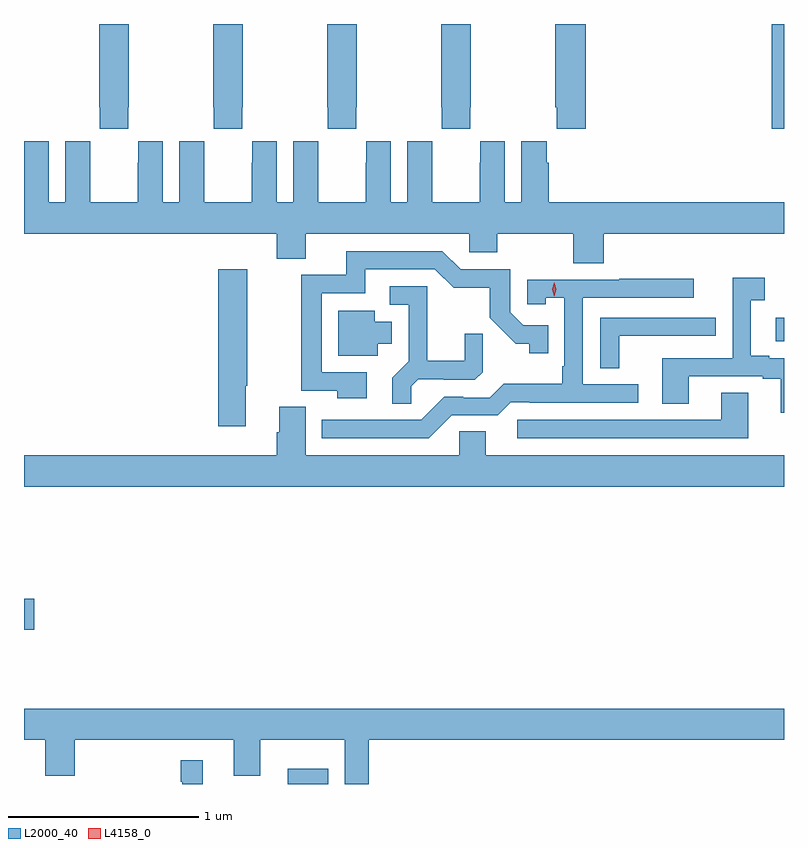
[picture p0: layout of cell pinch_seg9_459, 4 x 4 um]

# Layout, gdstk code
import gdstk
lib = gdstk.Library(unit=1e-6, precision=1e-09)
def R(c, l, rs):  # rectangles x0, y0, x1, y1
    for r in rs: c.add(gdstk.rectangle(r[:2], r[2:], *l))
def P(c, l, *ps):  # polygons
    for p in ps: c.add(gdstk.Polygon(p, *l))
L2000_40 = (2000, 40)
L4158_0 = (4158, 0)

pinch_seg9_459 = lib.new_cell('pinch_seg9_459')
R(pinch_seg9_459, L2000_40, [(350.198,1170.879,350.41,1170.958), (348.81,1171.69,348.865,1171.855), (352.767,1173.209,352.81,1173.333), (352.745,1174.329,352.81,1174.879)])
P(pinch_seg9_459, L2000_40, [(349.359,1174.441),(349.362,1174.441),(349.362,1174.879),(349.207,1174.879),(349.207,1174.441),(349.209,1174.441),(349.209,1174.329),(349.359,1174.329)],
  [(349.959,1174.441),(349.962,1174.441),(349.962,1174.879),(349.807,1174.879),(349.807,1174.441),(349.809,1174.441),(349.809,1174.329),(349.959,1174.329)],
  [(350.559,1174.441),(350.562,1174.441),(350.562,1174.879),(350.407,1174.879),(350.407,1174.441),(350.409,1174.441),(350.409,1174.329),(350.559,1174.329)],
  [(351.159,1174.441),(351.162,1174.441),(351.162,1174.879),(351.007,1174.879),(351.007,1174.441),(351.009,1174.441),(351.009,1174.329),(351.159,1174.329)],
  [(351.767,1174.879),(351.607,1174.879),(351.607,1174.441),(351.613,1174.441),(351.613,1174.329),(351.767,1174.329)],
  [(351.21,1174.148),(351.209,1174.148),(351.209,1173.94),(350.959,1173.94),(350.959,1174.148),(350.958,1174.148),(350.958,1174.261),(350.828,1174.261),(350.828,1173.94),(350.74,1173.94),(350.74,1174.261),(350.61,1174.261),(350.61,1174.148),(350.609,1174.148),(350.609,1173.94),(350.359,1173.94),(350.359,1174.148),(350.358,1174.148),(350.358,1174.261),(350.228,1174.261),(350.228,1173.94),(350.14,1173.94),(350.14,1174.261),(350.01,1174.261),(350.01,1174.148),(350.009,1174.148),(350.009,1173.94),(349.759,1173.94),(349.759,1174.148),(349.758,1174.148),(349.758,1174.261),(349.628,1174.261),(349.628,1173.94),(349.54,1173.94),(349.54,1174.261),(349.41,1174.261),(349.41,1174.148),(349.409,1174.148),(349.409,1173.94),(349.159,1173.94),(349.159,1174.148),(349.158,1174.148),(349.158,1174.261),(349.028,1174.261),(349.028,1173.94),(348.94,1173.94),(348.94,1174.261),(348.81,1174.261),(348.81,1173.776),(350.141,1173.776),(350.141,1173.643),(350.293,1173.643),(350.293,1173.776),(351.153,1173.776),(351.153,1173.678),(351.3,1173.678),(351.3,1173.776),(351.7,1173.776),(351.7,1173.619),(351.86,1173.619),(351.86,1173.776),(352.81,1173.776),(352.81,1173.94),(351.572,1173.94),(351.572,1174.148),(351.562,1174.148),(351.562,1174.261),(351.428,1174.261),(351.428,1173.94),(351.34,1173.94),(351.34,1174.261),(351.21,1174.261)],
  [(350.614,1173.045),(350.376,1173.045),(350.376,1173.462),(350.605,1173.462),(350.605,1173.588),(350.973,1173.588),(351.072,1173.49),(351.261,1173.49),(351.261,1173.334),(351.398,1173.197),(351.468,1173.197),(351.468,1173.147),(351.569,1173.147),(351.569,1173.294),(351.438,1173.294),(351.369,1173.363),(351.369,1173.588),(351.108,1173.588),(351.012,1173.684),(350.507,1173.684),(350.507,1173.558),(350.268,1173.558),(350.268,1172.949),(350.458,1172.949),(350.458,1172.909),(350.614,1172.909)],
  [(349.978,1172.975),(349.986,1172.975),(349.986,1173.589),(349.832,1173.589),(349.832,1172.763),(349.978,1172.763)],
  [(352.81,1173.12),(352.732,1173.12),(352.732,1173.133),(352.636,1173.133),(352.636,1173.424),(352.708,1173.424),(352.708,1173.544),(352.539,1173.544),(352.539,1173.12),(352.169,1173.12),(352.169,1172.881),(352.309,1172.881),(352.309,1173.024),(352.697,1173.024),(352.697,1173.012),(352.793,1173.012),(352.793,1172.832),(352.81,1172.832)],
  [(351.06,1172.82),(351.303,1172.82),(351.372,1172.889),(351.472,1172.889),(351.472,1172.886),(352.042,1172.886),(352.042,1172.982),(351.75,1172.982),(351.75,1173.438),(352.336,1173.438),(352.336,1173.537),(351.943,1173.537),(351.943,1173.534),(351.459,1173.534),(351.459,1173.405),(351.555,1173.405),(351.555,1173.437),(351.654,1173.437),(351.654,1173.079),(351.642,1173.079),(351.642,1172.986),(351.334,1172.986),(351.261,1172.913),(351.122,1172.913),(351.122,1172.916),(351.021,1172.916),(350.901,1172.796),(350.378,1172.796),(350.378,1172.7),(350.94,1172.7)],
  [(350.847,1172.972),(350.884,1173.009),(351.018,1173.009),(351.018,1173.006),(351.183,1173.006),(351.224,1173.047),(351.224,1173.249),(351.13,1173.249),(351.13,1173.106),(350.933,1173.106),(350.933,1173.498),(350.736,1173.498),(350.736,1173.402),(350.835,1173.402),(350.835,1173.103),(350.749,1173.017),(350.749,1172.881),(350.847,1172.881)],
  [(350.671,1173.197),(350.746,1173.197),(350.746,1173.313),(350.656,1173.313),(350.656,1173.37),(350.465,1173.37),(350.465,1173.134),(350.671,1173.134)],
  [(351.942,1173.237),(352.337,1173.237),(352.337,1173.238),(352.45,1173.238),(352.45,1173.333),(351.843,1173.333),(351.843,1173.067),(351.942,1173.067)],
  [(352.621,1172.939),(352.481,1172.939),(352.481,1172.796),(351.405,1172.796),(351.405,1172.7),(352.621,1172.7)],
  [(352.81,1172.608),(351.241,1172.608),(351.241,1172.735),(351.102,1172.735),(351.102,1172.608),(350.293,1172.608),(350.293,1172.864),(350.153,1172.864),(350.153,1172.73),(350.141,1172.73),(350.141,1172.608),(348.81,1172.608),(348.81,1172.444),(352.81,1172.444)],
  [(350.624,1171.112),(352.81,1171.112),(352.81,1171.276),(348.81,1171.276),(348.81,1171.112),(348.923,1171.112),(348.923,1170.923),(349.076,1170.923),(349.076,1171.112),(349.913,1171.112),(349.913,1170.923),(350.053,1170.923),(350.053,1171.112),(350.498,1171.112),(350.498,1170.879),(350.624,1170.879)],
  [(349.752,1171.003),(349.636,1171.003),(349.636,1170.89),(349.644,1170.89),(349.644,1170.879),(349.752,1170.879)])
P(pinch_seg9_459, L4158_0, [(351.6,1173.447),(351.591,1173.483),(351.6,1173.518),(351.601,1173.519),(351.601,1173.518),(351.611,1173.483),(351.601,1173.447),(351.601,1173.447)])

lib.write_gds('pinch_seg9_459.gds')
